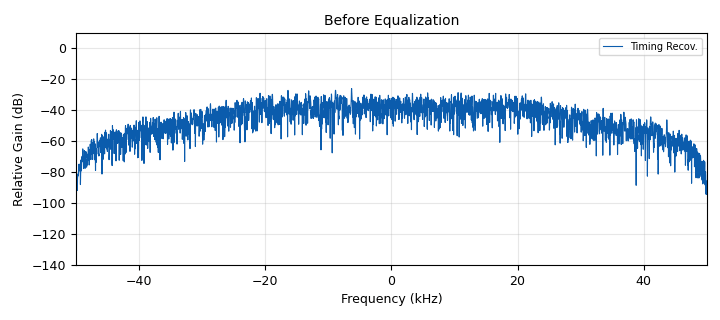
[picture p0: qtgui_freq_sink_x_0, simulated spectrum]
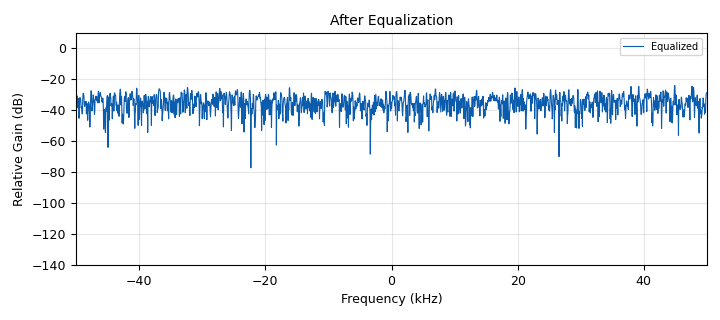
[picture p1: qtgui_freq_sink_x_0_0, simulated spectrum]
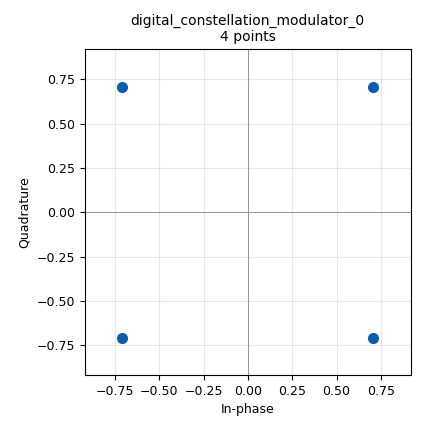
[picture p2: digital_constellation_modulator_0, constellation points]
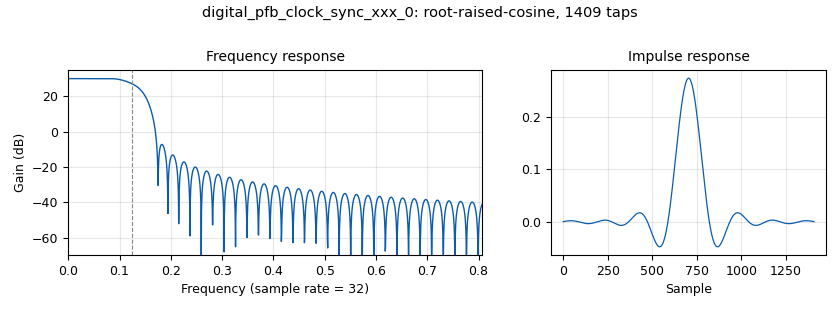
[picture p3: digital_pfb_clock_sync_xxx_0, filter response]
options:
  parameters:
    author: wcsng
    generate_options: qt_gui
    id: lab5_single_carrier
    output_language: python
    title: 'Single-Carrier '
  states: {}

blocks:
- name: arity
  id: variable
  parameters:
    value: '4'
  states: {}
- name: delay
  id: variable_qtgui_range
  parameters:
    start: '0'
    step: '1'
    stop: '15'
    value: '0'
  states: {}
- name: delay_gain
  id: variable_qtgui_range
  parameters:
    start: '0'
    step: '0.01'
    stop: '1'
    value: '0.5'
  states: {}
- name: excess_bw
  id: variable
  parameters:
    value: '0.35'
  states: {}
- name: nfilts
  id: variable
  parameters:
    value: '32'
  states: {}
- name: qpsk
  id: variable_constellation_rect
  parameters:
    const_points: '[0.707+0.707j, -0.707+0.707j, -0.707-0.707j, 0.707-0.707j]'
    imag_sect: '2'
    real_sect: '2'
    rot_sym: '4'
    sym_map: '[0, 1, 2, 3]'
    w_imag_sect: '1'
    w_real_sect: '1'
  states: {}
- name: rrc_taps
  id: variable
  parameters:
    value: firdes.root_raised_cosine(nfilts, nfilts, 1.0/float(sps), 0.35, 11*sps*nfilts)
  states: {}
- name: samp_rate
  id: variable
  parameters:
    value: '100000'
  states: {}
- name: sps
  id: variable
  parameters:
    value: '4'
  states: {}
- name: taps
  id: variable
  parameters:
    value: '[1.0, 0.25-0.25j, 0.50 + 0.10j, -0.3 + 0.2j]'
  states: {}
- name: timing_loop_bw
  id: variable
  parameters:
    value: 6.28/100.0
  states: {}
- name: variable_adaptive_algorithm_0
  id: variable_adaptive_algorithm
  parameters:
    cons: qpsk
    modulus: '4'
    step_size: '.0001'
    type: cma
  states: {}
- name: analog_random_source_x_0
  id: analog_random_source_x
  parameters:
    max: '256'
    min: '0'
    num_samps: '10000'
    repeat: 'True'
    type: byte
  states: {}
- name: blocks_add_xx_0
  id: blocks_add_xx
  parameters:
    type: complex
  states: {}
- name: blocks_delay_0
  id: blocks_delay
  parameters:
    delay: delay
    type: complex
  states: {}
- name: blocks_multiply_const_vxx_0
  id: blocks_multiply_const_vxx
  parameters:
    const: delay_gain
    type: complex
  states: {}
- name: blocks_throttle_0
  id: blocks_throttle
  parameters:
    samples_per_second: samp_rate
    type: complex
  states: {}
- name: digital_constellation_modulator_0
  id: digital_constellation_modulator
  parameters:
    constellation: qpsk
    differential: 'True'
    excess_bw: excess_bw
    samples_per_symbol: sps
  states: {}
- name: digital_linear_equalizer_0
  id: digital_linear_equalizer
  parameters:
    alg: variable_adaptive_algorithm_0
    num_taps: '15'
    sps: '2'
  states: {}
- name: digital_pfb_clock_sync_xxx_0
  id: digital_pfb_clock_sync_xxx
  parameters:
    filter_size: nfilts
    init_phase: nfilts/2
    loop_bw: timing_loop_bw
    max_dev: '1.5'
    osps: '2'
    sps: sps
    taps: rrc_taps
    type: ccf
  states: {}
- name: qtgui_freq_sink_x_0
  id: qtgui_freq_sink_x
  parameters:
    bw: samp_rate
    ctrlpanel: 'True'
    fc: '0'
    fftsize: '4096'
    gui_hint: 0,0,1,1
    label1: Timing Recov.
    name: Before Equalization
    showports: 'True'
    type: complex
    width1: '2'
  states: {}
- name: qtgui_freq_sink_x_0_0
  id: qtgui_freq_sink_x
  parameters:
    alpha1: '1'
    bw: samp_rate
    ctrlpanel: 'True'
    fc: '0'
    fftsize: '2048'
    gui_hint: 0,1,1,1
    label1: Equalized
    name: After Equalization
    showports: 'True'
    type: complex
    width1: '2'
  states: {}

connections:
- [analog_random_source_x_0, '0', digital_constellation_modulator_0, '0']
- [blocks_add_xx_0, '0', digital_pfb_clock_sync_xxx_0, '0']
- [blocks_delay_0, '0', blocks_multiply_const_vxx_0, '0']
- [blocks_multiply_const_vxx_0, '0', blocks_add_xx_0, '1']
- [blocks_throttle_0, '0', blocks_add_xx_0, '0']
- [blocks_throttle_0, '0', blocks_delay_0, '0']
- [digital_constellation_modulator_0, '0', blocks_throttle_0, '0']
- [digital_linear_equalizer_0, '0', qtgui_freq_sink_x_0_0, '0']
- [digital_pfb_clock_sync_xxx_0, '0', digital_linear_equalizer_0, '0']
- [digital_pfb_clock_sync_xxx_0, '0', qtgui_freq_sink_x_0, '0']

metadata:
  file_format: 1
  grc_version: v3.11.0.0git-757-g9d77ad17
